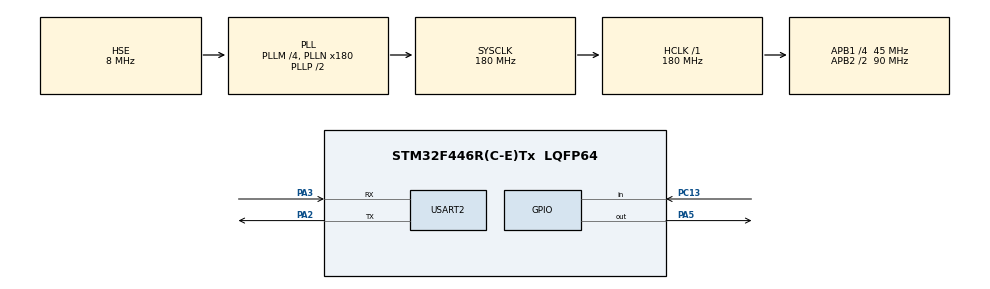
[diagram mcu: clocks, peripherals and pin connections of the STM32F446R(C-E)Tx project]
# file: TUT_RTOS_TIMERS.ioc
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FREERTOS.Tasks01=uartTask,0,128,UartTask,Default,NULL,Dynamic,NULL,NULL;ledTask,0,128,LedTask,Default,NULL,Dynamic,NULL,NULL
FREERTOS.Timers01=periodicTimer,PTCallback,osTimerPeriodic,Default,NULL,Dynamic,NULL;onceTimer,OTCallback,osTimerOnce,Default,NULL,Dynamic,NULL
FREERTOS.configTIMER_TASK_PRIORITY=6
FREERTOS.configUSE_TIMERS=1
Mcu.Family=STM32F4
Mcu.Name=STM32F446R(C-E)Tx
Mcu.Package=LQFP64
NVIC.PriorityGroup=NVIC_PRIORITYGROUP_4
NVIC.TIM6_DAC_IRQn=true\:0\:0\:false\:false\:true\:false\:false\:true
NVIC.TimeBase=TIM6_DAC_IRQn
NVIC.TimeBaseIP=TIM6
PA2.Mode=Asynchronous
PA2.Signal=USART2_TX
PA3.Mode=Asynchronous
PA3.Signal=USART2_RX
PA5.Signal=GPIO_Output
PC13.Signal=GPIO_Input
PH0-OSC_IN.Mode=HSE-External-Oscillator
PH0-OSC_IN.Signal=RCC_OSC_IN
PH1-OSC_OUT.Mode=HSE-External-Oscillator
PH1-OSC_OUT.Signal=RCC_OSC_OUT
ProjectManager.HeapSize=0x200
ProjectManager.StackSize=0x400
ProjectManager.TargetToolchain=STM32CubeIDE
RCC.AHBFreq_Value=180000000
RCC.APB1CLKDivider=RCC_HCLK_DIV4
RCC.APB1Freq_Value=45000000
RCC.APB1TimFreq_Value=90000000
RCC.APB2CLKDivider=RCC_HCLK_DIV2
RCC.APB2Freq_Value=90000000
RCC.APB2TimFreq_Value=180000000
RCC.CortexFreq_Value=180000000
RCC.HCLKFreq_Value=180000000
RCC.HSE_VALUE=8000000
RCC.PLLM=4
RCC.PLLN=180
RCC.PLLSourceVirtual=RCC_PLLSOURCE_HSE
RCC.SYSCLKFreq_VALUE=180000000
RCC.SYSCLKSource=RCC_SYSCLKSOURCE_PLLCLK
RCC.USBFreq_Value=180000000
RCC.VCOOutputFreq_Value=360000000
USART2.VirtualMode=VM_ASYNC
VP_FREERTOS_VS_CMSIS_V1.Mode=CMSIS_V1
VP_SYS_VS_tim6.Mode=TIM6
board=custom

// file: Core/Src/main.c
/* USER CODE BEGIN Header */
/**
  ******************************************************************************
  * @file           : main.c
  * @brief          : Main program body
  ******************************************************************************
  * @attention
  *
  * <h2><center>&copy; Copyright (c) 2021 STMicroelectronics.
  * All rights reserved.</center></h2>
  *
  * This software component is licensed by ST under BSD 3-Clause license,
  * the "License"; You may not use this file except in compliance with the
  * License. You may obtain a copy of the License at:
  *                        opensource.org/licenses/BSD-3-Clause
  *
  ******************************************************************************
  */
/* USER CODE END Header */
#include "main.h"
//#include "cmsis_os.h"

/* USER CODE BEGIN Includes */
#include "FreeRTOS.h"
#include "task.h"
#include "timers.h"
#include "queue.h"
#include "semphr.h"
#include "event_groups.h"
/* USER CODE END Includes */

UART_HandleTypeDef huart2;

void SystemClock_Config(void);
static void MX_GPIO_Init(void);
static void MX_USART2_UART_Init(void);

/* USER CODE BEGIN 0 */

// Create timer handles
xTimerHandle PTHandle;
xTimerHandle OTHandle;

// create task handles
xTaskHandle uartHandle;
xTaskHandle ledHandle;

// Task functions
void uartTask (void *argument)
{
	xTimerStart(PTHandle, 0);
	while (1)
	{
		HAL_UART_Transmit(&huart2, (uint8_t *) "sending from UART TASK\n", 23, 100);
		vTaskDelay(pdMS_TO_TICKS(2000));
	}
}

void ledTask (void *argument)
{
	while (1)
	{
		if (!(HAL_GPIO_ReadPin(GPIOC, GPIO_PIN_13)))  // if the button is pressed
		{
			HAL_GPIO_WritePin(GPIOA, GPIO_PIN_5, 1);  // Turn On the LED
			xTimerStart(OTHandle, 0);
		}

		vTaskDelay(pdMS_TO_TICKS(20));
	}
}

void TimerCallback (xTimerHandle xTimer)
{
	if (xTimer == PTHandle)
	{
		HAL_UART_Transmit(&huart2, (uint8_t *) "sending from TIMER CALLBACK\n", 28, 100);
	}

	else if (xTimer == OTHandle)
	{
		HAL_GPIO_WritePin(GPIOA, GPIO_PIN_5, 0);
	}
}

/* USER CODE END 0 */

int main(void)
{

  /* MCU Configuration--------------------------------------------------------*/

  /* Reset of all peripherals, Initializes the Flash interface and the Systick. */
  HAL_Init();

  /* Configure the system clock */
  SystemClock_Config();

  /* Initialize all configured peripherals */
  MX_GPIO_Init();
  MX_USART2_UART_Init();
  /* USER CODE BEGIN 2 */

  // create timers
  PTHandle = xTimerCreate("timer1", pdMS_TO_TICKS(1000), pdTRUE, (void *) 1, TimerCallback);
  OTHandle = xTimerCreate("timer2", pdMS_TO_TICKS(4000), pdFALSE, (void *) 2, TimerCallback);

  // create tasks
  xTaskCreate(uartTask, "uart", 128, NULL, 1, &uartHandle);
  xTaskCreate(ledTask, "led", 128, NULL, 1, &ledHandle);

  // start the scheduler
  vTaskStartScheduler();

  /* USER CODE END 2 */

  /* We should never get here as control is now taken by the scheduler */
  /* Infinite loop */
  while (1)
  {

  }
}

void SystemClock_Config(void)
{
  RCC_OscInitTypeDef RCC_OscInitStruct = {0};
  RCC_ClkInitTypeDef RCC_ClkInitStruct = {0};

  /** Configure the main internal regulator output voltage
  */
  __HAL_RCC_PWR_CLK_ENABLE();
  __HAL_PWR_VOLTAGESCALING_CONFIG(PWR_REGULATOR_VOLTAGE_SCALE1);
  /** Initializes the RCC Oscillators according to the specified parameters
  * in the RCC_OscInitTypeDef structure.
  */
  RCC_OscInitStruct.OscillatorType = RCC_OSCILLATORTYPE_HSE;
  RCC_OscInitStruct.HSEState = RCC_HSE_ON;
  RCC_OscInitStruct.PLL.PLLState = RCC_PLL_ON;
  RCC_OscInitStruct.PLL.PLLSource = RCC_PLLSOURCE_HSE;
  RCC_OscInitStruct.PLL.PLLM = 4;
  RCC_OscInitStruct.PLL.PLLN = 180;
  RCC_OscInitStruct.PLL.PLLP = RCC_PLLP_DIV2;
  RCC_OscInitStruct.PLL.PLLQ = 2;
  RCC_OscInitStruct.PLL.PLLR = 2;
  if (HAL_RCC_OscConfig(&RCC_OscInitStruct) != HAL_OK)
  {
    Error_Handler();
  }
  /** Activate the Over-Drive mode
  */
  if (HAL_PWREx_EnableOverDrive() != HAL_OK)
  {
    Error_Handler();
  }
  /** Initializes the CPU, AHB and APB buses clocks
  */
  RCC_ClkInitStruct.ClockType = RCC_CLOCKTYPE_HCLK|RCC_CLOCKTYPE_SYSCLK
                              |RCC_CLOCKTYPE_PCLK1|RCC_CLOCKTYPE_PCLK2;
  RCC_ClkInitStruct.SYSCLKSource = RCC_SYSCLKSOURCE_PLLCLK;
  RCC_ClkInitStruct.AHBCLKDivider = RCC_SYSCLK_DIV1;
  RCC_ClkInitStruct.APB1CLKDivider = RCC_HCLK_DIV4;
  RCC_ClkInitStruct.APB2CLKDivider = RCC_HCLK_DIV2;

  if (HAL_RCC_ClockConfig(&RCC_ClkInitStruct, FLASH_LATENCY_5) != HAL_OK)
  {
    Error_Handler();
  }
}

static void MX_USART2_UART_Init(void)
{

  huart2.Instance = USART2;
  huart2.Init.BaudRate = 115200;
  huart2.Init.WordLength = UART_WORDLENGTH_8B;
  huart2.Init.StopBits = UART_STOPBITS_1;
  huart2.Init.Parity = UART_PARITY_NONE;
  huart2.Init.Mode = UART_MODE_TX_RX;
  huart2.Init.HwFlowCtl = UART_HWCONTROL_NONE;
  huart2.Init.OverSampling = UART_OVERSAMPLING_16;
  if (HAL_UART_Init(&huart2) != HAL_OK)
  {
    Error_Handler();
  }

}

static void MX_GPIO_Init(void)
{
  GPIO_InitTypeDef GPIO_InitStruct = {0};

  /* GPIO Ports Clock Enable */
  __HAL_RCC_GPIOC_CLK_ENABLE();
  __HAL_RCC_GPIOH_CLK_ENABLE();
  __HAL_RCC_GPIOA_CLK_ENABLE();

  /*Configure GPIO pin Output Level */
  HAL_GPIO_WritePin(GPIOA, GPIO_PIN_5, GPIO_PIN_RESET);

  /*Configure GPIO pin : PC13 */
  GPIO_InitStruct.Pin = GPIO_PIN_13;
  GPIO_InitStruct.Mode = GPIO_MODE_INPUT;
  GPIO_InitStruct.Pull = GPIO_NOPULL;
  HAL_GPIO_Init(GPIOC, &GPIO_InitStruct);

  /*Configure GPIO pin : PA5 */
  GPIO_InitStruct.Pin = GPIO_PIN_5;
  GPIO_InitStruct.Mode = GPIO_MODE_OUTPUT_PP;
  GPIO_InitStruct.Pull = GPIO_NOPULL;
  GPIO_InitStruct.Speed = GPIO_SPEED_FREQ_LOW;
  HAL_GPIO_Init(GPIOA, &GPIO_InitStruct);

}

 /**
  * @brief  Period elapsed callback in non blocking mode
  * @note   This function is called  when TIM6 interrupt took place, inside
  * HAL_TIM_IRQHandler(). It makes a direct call to HAL_IncTick() to increment
  * a global variable "uwTick" used as application time base.
  * @param  htim : TIM handle
  * @retval None
  */
void HAL_TIM_PeriodElapsedCallback(TIM_HandleTypeDef *htim)
{
  if (htim->Instance == TIM6) {
    HAL_IncTick();
  }
}

void Error_Handler(void)
{
  __disable_irq();
  while (1)
  {
  }
}

/************************ (C) COPYRIGHT STMicroelectronics *****END OF FILE****/
